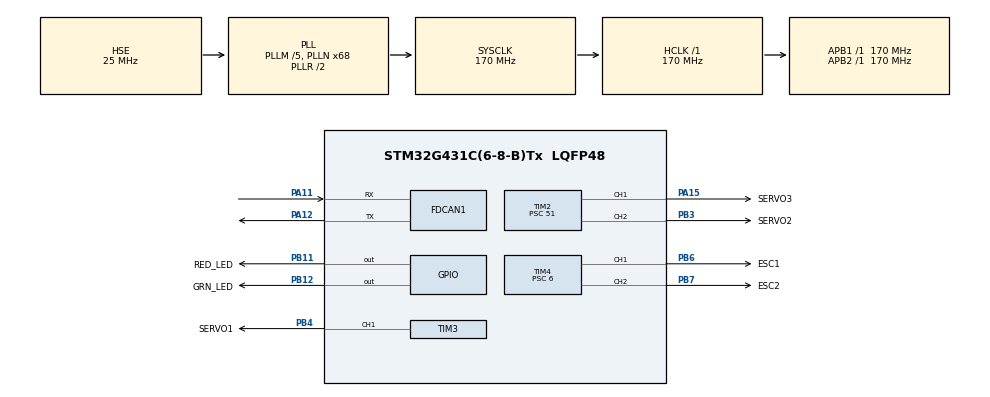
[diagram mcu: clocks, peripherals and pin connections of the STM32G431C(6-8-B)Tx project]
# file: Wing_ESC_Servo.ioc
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FDCAN1.CalculateBaudRateNominal=1000000
FDCAN1.CalculateTimeBitNominal=1000
FDCAN1.CalculateTimeQuantumNominal=100.0
FDCAN1.ClockDivider=FDCAN_CLOCK_DIV1
FDCAN1.NominalPrescaler=17
FDCAN1.NominalTimeSeg1=7
FDCAN1.NominalTimeSeg2=2
FREERTOS.Mutexes01=CanardlibMutex,Dynamic,NULL,Available
FREERTOS.Tasks01=CanStatus,16,256,StartCanStatus,Default,NULL,Dynamic,NULL,NULL;CanRx,43,512,StartCanRx,Default,NULL,Dynamic,NULL,NULL;CanTx,32,256,StartCanTx,Default,NULL,Dynamic,NULL,NULL;EscStatus,24,256,StartEscStatus,Default,NULL,Dynamic,NULL,NULL;LedBlink,14,128,StartLedBlink,Default,NULL,Dynamic,NULL,NULL;EscUpdate,40,256,StartEscUpdate,Default,NULL,Dynamic,NULL,NULL;ServoUpdate,36,256,StartServoUpdate,Default,NULL,Dynamic,NULL,NULL;ErrorLED,15,128,StartErrorLED,Default,NULL,Dynamic,NULL,NULL
FREERTOS.configMINIMAL_STACK_SIZE=128
FREERTOS.configTOTAL_HEAP_SIZE=12000
Mcu.Family=STM32G4
Mcu.Name=STM32G431C(6-8-B)Tx
Mcu.Package=LQFP48
NVIC.FDCAN1_IT0_IRQn=true\:5\:0\:false\:false\:true\:true\:true\:true\:true
NVIC.PriorityGroup=NVIC_PRIORITYGROUP_4
NVIC.TIM7_IRQn=true\:15\:0\:false\:false\:true\:false\:false\:true\:true
NVIC.TimeBase=TIM7_IRQn
NVIC.TimeBaseIP=TIM7
PA11.Mode=FDCAN_Activate
PA11.Signal=FDCAN1_RX
PA12.Mode=FDCAN_Activate
PA12.Signal=FDCAN1_TX
PA13.Mode=Serial_Wire
PA13.Signal=SYS_JTMS-SWDIO
PA14.Mode=Serial_Wire
PA14.Signal=SYS_JTCK-SWCLK
PA15.GPIO_Label=SERVO3
PA15.Signal=S_TIM2_CH1
PB11.GPIO_Label=RED_LED
PB11.Signal=GPIO_Output
PB12.GPIO_Label=GRN_LED
PB12.Signal=GPIO_Output
PB3.GPIO_Label=SERVO2
PB3.Signal=S_TIM2_CH2
PB4.GPIO_Label=SERVO1
PB4.Signal=S_TIM3_CH1
PB6.GPIO_Label=ESC1
PB6.Signal=S_TIM4_CH1
PB7.GPIO_Label=ESC2
PB7.Signal=S_TIM4_CH2
PF0-OSC_IN.Mode=HSE-External-Oscillator
PF0-OSC_IN.Signal=RCC_OSC_IN
PF1-OSC_OUT.Mode=HSE-External-Oscillator
PF1-OSC_OUT.Signal=RCC_OSC_OUT
ProjectManager.HeapSize=0x200
ProjectManager.StackSize=0x400
ProjectManager.TargetToolchain=CMake
RCC.ADC12Freq_Value=170000000
RCC.AHBFreq_Value=170000000
RCC.APB1Freq_Value=170000000
RCC.APB1TimFreq_Value=170000000
RCC.APB2Freq_Value=170000000
RCC.APB2TimFreq_Value=170000000
RCC.CortexFreq_Value=170000000
RCC.EXTERNAL_CLOCK_VALUE=12288000
RCC.HCLKFreq_Value=170000000
RCC.HSE_VALUE=25000000
RCC.HSI48_VALUE=48000000
RCC.HSI_VALUE=16000000
RCC.LSE_VALUE=32768
RCC.PLLM=RCC_PLLM_DIV5
RCC.PLLN=68
RCC.PLLSourceVirtual=RCC_PLLSOURCE_HSE
RCC.SYSCLKFreq_VALUE=170000000
RCC.SYSCLKSource=RCC_SYSCLKSOURCE_PLLCLK
RCC.USBFreq_Value=170000000
RCC.VCOOutputFreq_Value=340000000
SH.S_TIM2_CH1.0=TIM2_CH1,PWM Generation1 CH1
SH.S_TIM2_CH2.0=TIM2_CH2,PWM Generation2 CH2
SH.S_TIM3_CH1.0=TIM3_CH1,PWM Generation1 CH1
SH.S_TIM4_CH1.0=TIM4_CH1,PWM Generation1 CH1
SH.S_TIM4_CH2.0=TIM4_CH2,PWM Generation2 CH2
TIM2.Channel-PWM\ Generation1\ CH1=TIM_CHANNEL_1
TIM2.Channel-PWM\ Generation2\ CH2=TIM_CHANNEL_2
TIM2.PeriodNoDither=65383
TIM2.Prescaler=51
TIM3.Channel-PWM\ Generation1\ CH1=TIM_CHANNEL_1
TIM3.PeriodNoDither=65383
TIM3.Prescaler=51
TIM4.Channel-PWM\ Generation1\ CH1=TIM_CHANNEL_1
TIM4.Channel-PWM\ Generation2\ CH2=TIM_CHANNEL_2
TIM4.PeriodNoDither=60713
TIM4.Prescaler=6
VP_FREERTOS_VS_CMSIS_V2.Mode=CMSIS_V2
VP_SYS_VS_DBSignals.Mode=DisableDeadBatterySignals
VP_SYS_VS_tim7.Mode=TIM7
board=custom

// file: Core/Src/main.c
/* USER CODE BEGIN Header */
/**
  ******************************************************************************
  * @file           : main.c
  * @brief          : Main program body
  ******************************************************************************
  * @attention
  *
  * Copyright (c) 2026 STMicroelectronics.
  * All rights reserved.
  *
  * This software is licensed under terms that can be found in the LICENSE file
  * in the root directory of this software component.
  * If no LICENSE file comes with this software, it is provided AS-IS.
  *
  ******************************************************************************
  */
/* USER CODE END Header */
#include "main.h"
#include "cmsis_os.h"

/* USER CODE BEGIN PTD */
uint32_t servo_error = 0;
uint32_t esc_error = 0;

/* USER CODE END PTD */

FDCAN_HandleTypeDef hfdcan1;

TIM_HandleTypeDef htim2;
TIM_HandleTypeDef htim3;
TIM_HandleTypeDef htim4;

/* Definitions for CanStatus */
osThreadId_t CanStatusHandle;
const osThreadAttr_t CanStatus_attributes = {
  .name = "CanStatus",
  .priority = (osPriority_t) osPriorityBelowNormal,
  .stack_size = 256 * 4
};
/* Definitions for CanRx */
osThreadId_t CanRxHandle;
const osThreadAttr_t CanRx_attributes = {
  .name = "CanRx",
  .priority = (osPriority_t) osPriorityHigh3,
  .stack_size = 512 * 4
};
/* Definitions for CanTx */
osThreadId_t CanTxHandle;
const osThreadAttr_t CanTx_attributes = {
  .name = "CanTx",
  .priority = (osPriority_t) osPriorityAboveNormal,
  .stack_size = 256 * 4
};
/* Definitions for EscStatus */
osThreadId_t EscStatusHandle;
const osThreadAttr_t EscStatus_attributes = {
  .name = "EscStatus",
  .priority = (osPriority_t) osPriorityNormal,
  .stack_size = 256 * 4
};
/* Definitions for LedBlink */
osThreadId_t LedBlinkHandle;
const osThreadAttr_t LedBlink_attributes = {
  .name = "LedBlink",
  .priority = (osPriority_t) osPriorityLow6,
  .stack_size = 128 * 4
};
/* Definitions for EscUpdate */
osThreadId_t EscUpdateHandle;
const osThreadAttr_t EscUpdate_attributes = {
  .name = "EscUpdate",
  .priority = (osPriority_t) osPriorityHigh,
  .stack_size = 256 * 4
};
/* Definitions for ServoUpdate */
osThreadId_t ServoUpdateHandle;
const osThreadAttr_t ServoUpdate_attributes = {
  .name = "ServoUpdate",
  .priority = (osPriority_t) osPriorityAboveNormal4,
  .stack_size = 256 * 4
};
/* Definitions for ErrorLED */
osThreadId_t ErrorLEDHandle;
const osThreadAttr_t ErrorLED_attributes = {
  .name = "ErrorLED",
  .priority = (osPriority_t) osPriorityLow7,
  .stack_size = 128 * 4
};
/* Definitions for CanardlibMutex */
osMutexId_t CanardlibMutexHandle;
const osMutexAttr_t CanardlibMutex_attributes = {
  .name = "CanardlibMutex"
};

void SystemClock_Config(void);
static void MX_GPIO_Init(void);
static void MX_FDCAN1_Init(void);
static void MX_TIM3_Init(void);
static void MX_TIM2_Init(void);
static void MX_TIM4_Init(void);
void StartCanStatus(void *argument);
void StartCanRx(void *argument);
void StartCanTx(void *argument);
void StartEscStatus(void *argument);
void StartLedBlink(void *argument);
void StartEscUpdate(void *argument);
void StartServoUpdate(void *argument);
void StartErrorLED(void *argument);

/* USER CODE BEGIN 0 */

// Sets which PWM channel drives which servo

void write_servo(int8_t i, uint16_t crr){
  switch(i){
    case 0:
      __HAL_TIM_SET_COMPARE(&htim3, TIM_CHANNEL_1 , crr);
      servo_error &= ~(1u << 30);
      break;
    case 1:
      __HAL_TIM_SET_COMPARE(&htim2, TIM_CHANNEL_2 , crr);
      servo_error &= ~(1u << 30);
      break;
    case 2:
      __HAL_TIM_SET_COMPARE(&htim2, TIM_CHANNEL_1 , crr);
      servo_error &= ~(1u << 30);
      break;
    default:
      servo_error |= (1u << 30);
      break;
  }
}

void write_esc(uint8_t i, uint16_t crr){
  switch (i){
    case 0:
      __HAL_TIM_SET_COMPARE(&htim4, TIM_CHANNEL_1 , crr);
      esc_error &= ~(1u << 29);
      break;
    case 1:
      __HAL_TIM_SET_COMPARE(&htim4, TIM_CHANNEL_2 , crr);
      esc_error &= ~(1u << 29);
      break;
    default:
      esc_error |= (1u << 29);
      break;
  }
}

/* USER CODE END 0 */

int main(void)
{

  /* MCU Configuration--------------------------------------------------------*/

  /* Reset of all peripherals, Initializes the Flash interface and the Systick. */
  HAL_Init();

  /* Configure the system clock */
  SystemClock_Config();

  /* Initialize all configured peripherals */
  MX_GPIO_Init();
  MX_FDCAN1_Init();
  MX_TIM3_Init();
  MX_TIM2_Init();
  MX_TIM4_Init();
  /* USER CODE BEGIN 2 */

  // Setup canbus interupt
  HAL_FDCAN_ConfigInterruptLines(&hfdcan1, FDCAN_IT_GROUP_RX_FIFO0, FDCAN_INTERRUPT_LINE0);
  HAL_FDCAN_ActivateNotification(&hfdcan1, FDCAN_IT_RX_FIFO0_NEW_MESSAGE, 0);

  // Initialize dronecan
  can_node_init(&hfdcan1);

  // Start Canbus
  HAL_FDCAN_Start(&hfdcan1);

  // Start PWM channels
  HAL_TIM_PWM_Start(&htim3, TIM_CHANNEL_1);
  HAL_TIM_PWM_Start(&htim2, TIM_CHANNEL_1);
  HAL_TIM_PWM_Start(&htim2, TIM_CHANNEL_2);
  HAL_TIM_PWM_Start(&htim4, TIM_CHANNEL_1);
  HAL_TIM_PWM_Start(&htim4, TIM_CHANNEL_2);

  /* USER CODE END 2 */

  /* Init scheduler */
  osKernelInitialize();
  /* Create the mutex(es) */
  /* creation of CanardlibMutex */
  CanardlibMutexHandle = osMutexNew(&CanardlibMutex_attributes);

  /* Create the thread(s) */
  /* creation of CanStatus */
  CanStatusHandle = osThreadNew(StartCanStatus, NULL, &CanStatus_attributes);

  /* creation of CanRx */
  CanRxHandle = osThreadNew(StartCanRx, NULL, &CanRx_attributes);

  /* creation of CanTx */
  CanTxHandle = osThreadNew(StartCanTx, NULL, &CanTx_attributes);

  /* creation of EscStatus */
  EscStatusHandle = osThreadNew(StartEscStatus, NULL, &EscStatus_attributes);

  /* creation of LedBlink */
  LedBlinkHandle = osThreadNew(StartLedBlink, NULL, &LedBlink_attributes);

  /* creation of EscUpdate */
  EscUpdateHandle = osThreadNew(StartEscUpdate, NULL, &EscUpdate_attributes);

  /* creation of ServoUpdate */
  ServoUpdateHandle = osThreadNew(StartServoUpdate, NULL, &ServoUpdate_attributes);

  /* creation of ErrorLED */
  ErrorLEDHandle = osThreadNew(StartErrorLED, NULL, &ErrorLED_attributes);

  /* Start scheduler */
  osKernelStart();

  /* We should never get here as control is now taken by the scheduler */

  /* Infinite loop */
  while (1)
  {

  }
}

void SystemClock_Config(void)
{
  RCC_OscInitTypeDef RCC_OscInitStruct = {0};
  RCC_ClkInitTypeDef RCC_ClkInitStruct = {0};

  /** Configure the main internal regulator output voltage
  */
  HAL_PWREx_ControlVoltageScaling(PWR_REGULATOR_VOLTAGE_SCALE1_BOOST);

  /** Initializes the RCC Oscillators according to the specified parameters
  * in the RCC_OscInitTypeDef structure.
  */
  RCC_OscInitStruct.OscillatorType = RCC_OSCILLATORTYPE_HSE;
  RCC_OscInitStruct.HSEState = RCC_HSE_ON;
  RCC_OscInitStruct.PLL.PLLState = RCC_PLL_ON;
  RCC_OscInitStruct.PLL.PLLSource = RCC_PLLSOURCE_HSE;
  RCC_OscInitStruct.PLL.PLLM = RCC_PLLM_DIV5;
  RCC_OscInitStruct.PLL.PLLN = 68;
  RCC_OscInitStruct.PLL.PLLP = RCC_PLLP_DIV2;
  RCC_OscInitStruct.PLL.PLLQ = RCC_PLLQ_DIV2;
  RCC_OscInitStruct.PLL.PLLR = RCC_PLLR_DIV2;
  if (HAL_RCC_OscConfig(&RCC_OscInitStruct) != HAL_OK)
  {
    Error_Handler();
  }

  /** Initializes the CPU, AHB and APB buses clocks
  */
  RCC_ClkInitStruct.ClockType = RCC_CLOCKTYPE_HCLK|RCC_CLOCKTYPE_SYSCLK
                              |RCC_CLOCKTYPE_PCLK1|RCC_CLOCKTYPE_PCLK2;
  RCC_ClkInitStruct.SYSCLKSource = RCC_SYSCLKSOURCE_PLLCLK;
  RCC_ClkInitStruct.AHBCLKDivider = RCC_SYSCLK_DIV1;
  RCC_ClkInitStruct.APB1CLKDivider = RCC_HCLK_DIV1;
  RCC_ClkInitStruct.APB2CLKDivider = RCC_HCLK_DIV1;

  if (HAL_RCC_ClockConfig(&RCC_ClkInitStruct, FLASH_LATENCY_4) != HAL_OK)
  {
    Error_Handler();
  }
}

static void MX_FDCAN1_Init(void)
{

  hfdcan1.Instance = FDCAN1;
  hfdcan1.Init.ClockDivider = FDCAN_CLOCK_DIV1;
  hfdcan1.Init.FrameFormat = FDCAN_FRAME_CLASSIC;
  hfdcan1.Init.Mode = FDCAN_MODE_NORMAL;
  hfdcan1.Init.AutoRetransmission = DISABLE;
  hfdcan1.Init.TransmitPause = DISABLE;
  hfdcan1.Init.ProtocolException = DISABLE;
  hfdcan1.Init.NominalPrescaler = 17;
  hfdcan1.Init.NominalSyncJumpWidth = 1;
  hfdcan1.Init.NominalTimeSeg1 = 7;
  hfdcan1.Init.NominalTimeSeg2 = 2;
  hfdcan1.Init.DataPrescaler = 1;
  hfdcan1.Init.DataSyncJumpWidth = 1;
  hfdcan1.Init.DataTimeSeg1 = 1;
  hfdcan1.Init.DataTimeSeg2 = 1;
  hfdcan1.Init.StdFiltersNbr = 0;
  hfdcan1.Init.ExtFiltersNbr = 0;
  hfdcan1.Init.TxFifoQueueMode = FDCAN_TX_FIFO_OPERATION;
  if (HAL_FDCAN_Init(&hfdcan1) != HAL_OK)
  {
    Error_Handler();
  }

}

static void MX_TIM2_Init(void)
{

  TIM_MasterConfigTypeDef sMasterConfig = {0};
  TIM_OC_InitTypeDef sConfigOC = {0};

  htim2.Instance = TIM2;
  htim2.Init.Prescaler = 51;
  htim2.Init.CounterMode = TIM_COUNTERMODE_UP;
  htim2.Init.Period = 65383;
  htim2.Init.ClockDivision = TIM_CLOCKDIVISION_DIV1;
  htim2.Init.AutoReloadPreload = TIM_AUTORELOAD_PRELOAD_DISABLE;
  if (HAL_TIM_PWM_Init(&htim2) != HAL_OK)
  {
    Error_Handler();
  }
  sMasterConfig.MasterOutputTrigger = TIM_TRGO_RESET;
  sMasterConfig.MasterSlaveMode = TIM_MASTERSLAVEMODE_DISABLE;
  if (HAL_TIMEx_MasterConfigSynchronization(&htim2, &sMasterConfig) != HAL_OK)
  {
    Error_Handler();
  }
  sConfigOC.OCMode = TIM_OCMODE_PWM1;
  sConfigOC.Pulse = 0;
  sConfigOC.OCPolarity = TIM_OCPOLARITY_HIGH;
  sConfigOC.OCFastMode = TIM_OCFAST_DISABLE;
  if (HAL_TIM_PWM_ConfigChannel(&htim2, &sConfigOC, TIM_CHANNEL_1) != HAL_OK)
  {
    Error_Handler();
  }
  if (HAL_TIM_PWM_ConfigChannel(&htim2, &sConfigOC, TIM_CHANNEL_2) != HAL_OK)
  {
    Error_Handler();
  }
  HAL_TIM_MspPostInit(&htim2);

}

static void MX_TIM3_Init(void)
{

  TIM_MasterConfigTypeDef sMasterConfig = {0};
  TIM_OC_InitTypeDef sConfigOC = {0};

  htim3.Instance = TIM3;
  htim3.Init.Prescaler = 51;
  htim3.Init.CounterMode = TIM_COUNTERMODE_UP;
  htim3.Init.Period = 65383;
  htim3.Init.ClockDivision = TIM_CLOCKDIVISION_DIV1;
  htim3.Init.AutoReloadPreload = TIM_AUTORELOAD_PRELOAD_DISABLE;
  if (HAL_TIM_PWM_Init(&htim3) != HAL_OK)
  {
    Error_Handler();
  }
  sMasterConfig.MasterOutputTrigger = TIM_TRGO_RESET;
  sMasterConfig.MasterSlaveMode = TIM_MASTERSLAVEMODE_DISABLE;
  if (HAL_TIMEx_MasterConfigSynchronization(&htim3, &sMasterConfig) != HAL_OK)
  {
    Error_Handler();
  }
  sConfigOC.OCMode = TIM_OCMODE_PWM1;
  sConfigOC.Pulse = 0;
  sConfigOC.OCPolarity = TIM_OCPOLARITY_HIGH;
  sConfigOC.OCFastMode = TIM_OCFAST_DISABLE;
  if (HAL_TIM_PWM_ConfigChannel(&htim3, &sConfigOC, TIM_CHANNEL_1) != HAL_OK)
  {
    Error_Handler();
  }
  HAL_TIM_MspPostInit(&htim3);

}

static void MX_TIM4_Init(void)
{

  TIM_MasterConfigTypeDef sMasterConfig = {0};
  TIM_OC_InitTypeDef sConfigOC = {0};

  htim4.Instance = TIM4;
  htim4.Init.Prescaler = 6;
  htim4.Init.CounterMode = TIM_COUNTERMODE_UP;
  htim4.Init.Period = 60713;
  htim4.Init.ClockDivision = TIM_CLOCKDIVISION_DIV1;
  htim4.Init.AutoReloadPreload = TIM_AUTORELOAD_PRELOAD_DISABLE;
  if (HAL_TIM_PWM_Init(&htim4) != HAL_OK)
  {
    Error_Handler();
  }
  sMasterConfig.MasterOutputTrigger = TIM_TRGO_RESET;
  sMasterConfig.MasterSlaveMode = TIM_MASTERSLAVEMODE_DISABLE;
  if (HAL_TIMEx_MasterConfigSynchronization(&htim4, &sMasterConfig) != HAL_OK)
  {
    Error_Handler();
  }
  sConfigOC.OCMode = TIM_OCMODE_PWM1;
  sConfigOC.Pulse = 0;
  sConfigOC.OCPolarity = TIM_OCPOLARITY_HIGH;
  sConfigOC.OCFastMode = TIM_OCFAST_DISABLE;
  if (HAL_TIM_PWM_ConfigChannel(&htim4, &sConfigOC, TIM_CHANNEL_1) != HAL_OK)
  {
    Error_Handler();
  }
  if (HAL_TIM_PWM_ConfigChannel(&htim4, &sConfigOC, TIM_CHANNEL_2) != HAL_OK)
  {
    Error_Handler();
  }
  HAL_TIM_MspPostInit(&htim4);

}

static void MX_GPIO_Init(void)
{
  GPIO_InitTypeDef GPIO_InitStruct = {0};

  /* GPIO Ports Clock Enable */
  __HAL_RCC_GPIOF_CLK_ENABLE();
  __HAL_RCC_GPIOB_CLK_ENABLE();
  __HAL_RCC_GPIOA_CLK_ENABLE();

  /*Configure GPIO pin Output Level */
  HAL_GPIO_WritePin(GPIOB, RED_LED_Pin|GRN_LED_Pin, GPIO_PIN_RESET);

  /*Configure GPIO pins : RED_LED_Pin GRN_LED_Pin */
  GPIO_InitStruct.Pin = RED_LED_Pin|GRN_LED_Pin;
  GPIO_InitStruct.Mode = GPIO_MODE_OUTPUT_PP;
  GPIO_InitStruct.Pull = GPIO_NOPULL;
  GPIO_InitStruct.Speed = GPIO_SPEED_FREQ_LOW;
  HAL_GPIO_Init(GPIOB, &GPIO_InitStruct);

}

/* USER CODE BEGIN 4 */
// Map function for canbus servo/esc command to PWM pulse
static inline int32_t map_int(int32_t x, int32_t in_min, int32_t in_max, int32_t out_min, int32_t out_max) {
  return (x - in_min) * (out_max - out_min) / (in_max - in_min) + out_min;
}

uint32_t introduce_jitter(uint32_t range_ms){
  int32_t uid = HAL_GetUIDw0() ^ HAL_GetUIDw1() ^ HAL_GetUIDw2();
  return uid % range_ms;
}

// Canbus interupt
void HAL_FDCAN_RxFifo0Callback(FDCAN_HandleTypeDef *hfdcan, uint32_t flags){
  (void) flags;

  // Run library function to clear can buffer to ring buffer
  can_node_rx_isr(hfdcan);

  // Notify rx task to run
  BaseType_t woken = pdFALSE;
  vTaskNotifyGiveFromISR(CanRxHandle, &woken);
  portYIELD_FROM_ISR(woken);
}

/* USER CODE END 4 */

void StartCanStatus(void *argument)
{
  /* USER CODE BEGIN 5 */
  (void) argument;
  osDelay(introduce_jitter(1000));
  uint32_t ticks = osKernelGetTickCount();

  for(;;)
  {
    // Wait 1 second
    ticks += 1000U;
    osDelayUntil(ticks);

    // Aquire canbus mutex
    if (osMutexAcquire(CanardlibMutexHandle, osWaitForever) == osOK)
    {
      // Send update
      can_node_1hz_tasks();

      osMutexRelease(CanardlibMutexHandle);
    }
      // Notify canbus transmit task to send data
      xTaskNotifyGive(CanTxHandle);
  }
  /* USER CODE END 5 */
}

void StartCanRx(void *argument)
{
  /* USER CODE BEGIN StartCanRx */
  (void) argument;

  // Getting node allocated
  uint8_t can_id_status = 0;

  // Turn red led on to indicate wait in progress
  HAL_GPIO_WritePin(RED_LED_GPIO_Port, RED_LED_Pin, GPIO_PIN_SET);

  // Wait untill node allocated
  while(can_id_status != 1) {

    // Thread safe delay, precision not required
    osDelay(20);

    // Get canbus mutex
    if(osMutexAcquire(CanardlibMutexHandle, osWaitForever) == osOK)
    {
      // Process incoming messages
      while(can_node_dequeue_and_process()) {}

      // Try to get dynamic node, returns 2 to signal data transmission required, 1 if recieved and 0 if else
      can_id_status = can_node_poll_dna();

      // Transmit data if required
      if (can_id_status == 2)
      {
        xTaskNotifyGive(CanTxHandle);
      }

      osMutexRelease(CanardlibMutexHandle);
    }
  }

  // Turn off red led - Node aquired
  HAL_GPIO_WritePin(RED_LED_GPIO_Port, RED_LED_Pin, GPIO_PIN_RESET);

  /* Infinite loop */
  for(;;)
  {

    // Wait forever untill triggered by canbus interupt
    ulTaskNotifyTake(pdTRUE, portMAX_DELAY);

    // Aquire mutex
    if (osMutexAcquire(CanardlibMutexHandle, osWaitForever) == osOK)
    {
      // Process canbus rx frames
      while(can_node_dequeue_and_process()) {}
      osMutexRelease(CanardlibMutexHandle);
    }
      // Notify canbus tx task to send data
      // Done as processing data can require responding
      xTaskNotifyGive(CanTxHandle);
  }
  /* USER CODE END StartCanRx */
}

void StartCanTx(void *argument)
{
  /* USER CODE BEGIN StartCanTx */
  for(;;)
  {
    // Wait forever untill function is called
    ulTaskNotifyTake(pdTRUE, portMAX_DELAY);

    // Aquire canbus mutex
    if(osMutexAcquire(CanardlibMutexHandle, osWaitForever) == osOK)
    {
      // Call drone can send data function
      can_node_flush_tx();
      osMutexRelease(CanardlibMutexHandle);
    }
  }
  /* USER CODE END StartCanTx */
}

void StartEscStatus(void *argument)
{
  /* USER CODE BEGIN StartEscStatus */
  (void) argument;
  osDelay(introduce_jitter(1000));
  uint32_t ticks = osKernelGetTickCount();
  /* Infinite loop */
  for(;;)
  {
    // Send status at 10hz
    ticks += 100U;
    osDelayUntil(ticks);

    // Aquire mutex
    if (osMutexAcquire(CanardlibMutexHandle, osWaitForever) == osOK){
      // Send status
      send_esc_status();
      osMutexRelease(CanardlibMutexHandle);
    }
    xTaskNotifyGive(CanTxHandle);
  }
  /* USER CODE END StartEscStatus */
}

void StartLedBlink(void *argument)
{
  /* USER CODE BEGIN StartLedBlink */
  (void) argument;
  osDelay(introduce_jitter(1000));
  /* Infinite loop */
  for(;;)
  {
    HAL_GPIO_WritePin(GRN_LED_GPIO_Port, GRN_LED_Pin, GPIO_PIN_SET);
    osDelay(100);
    HAL_GPIO_WritePin(GRN_LED_GPIO_Port, GRN_LED_Pin, GPIO_PIN_RESET);
    osDelay(900);
  }
  /* USER CODE END StartLedBlink */
}

void StartEscUpdate(void *argument)
{
  /* USER CODE BEGIN StartEscUpdate */
  (void) argument;
  osDelay(introduce_jitter(1000));
  uint32_t ticks = osKernelGetTickCount();
  update_tracking esc_status[ESC_COUNT] = {0};
  /* Infinite loop */
  for(;;)
  {
    // Update at 200hz
    ticks += 5;
    osDelayUntil(ticks);
    for(int i = 0; i < ESC_COUNT; i++){
      if (esc[i].last_update !=esc_status[i].last_update){
        esc_status[i].update_failed_count = 0;
        esc_status[i].update_without_fault ++;
        if (esc_status[i].update_without_fault > 200) esc_error &= ~(1u << i);
        if (esc[i].esc_cmd < 0) esc[i].esc_cmd = -esc[i].esc_cmd;
        uint32_t pulse = map_int(esc[i].esc_cmd, ESC_CAN_MIN, ESC_CAN_MAX, ESC_PULSE_MIN, ESC_PULSE_MAX);
        write_esc(i, pulse);
        // Write esc command
      }
      else {
        esc_status[i].update_failed_count ++;
        esc_status[i].update_without_fault = 0;
        if (esc_status[i].update_failed_count >= ALLOWED_ESC_FAILS) {
          esc_error |= (1u << i);
          write_esc(i, ESC_PULSE_MIN);
        }
      }
      esc_status[i].last_update = esc[i].last_update;
    }

  }
  /* USER CODE END StartEscUpdate */
}

void StartServoUpdate(void *argument)
{
  /* USER CODE BEGIN StartServoUpdate */
  (void) argument;
  osDelay(introduce_jitter(1000));
  uint32_t ticks = osKernelGetTickCount();
  update_tracking servo_status[SERVO_COUNT] = {0};
  /* Infinite loop */
  for(;;)
  {
    // Update at 50hz
    ticks += 20;
    osDelayUntil(ticks);
    for(int i = 0; i < SERVO_COUNT; i++){
      if (servos[i].last_update != servo_status[i].last_update){
        servo_status[i].update_failed_count = 0;
        servo_status[i].update_without_fault ++;
        if (servo_status[i].update_without_fault > 50) servo_error &= ~(1u << i);
        if (servos[i].servo_cmd < 0) servos[i].servo_cmd = -servos[i].servo_cmd;
        uint32_t pulse = map_int(servos[i].servo_cmd, SERVO_CAN_MIN, SERVO_CAN_MAX, SERVO_PULSE_MIN, SERVO_PULSE_MAX);
        write_servo(i, pulse);
      }
      else {
        servo_status[i].update_failed_count ++;
        servo_status[i].update_without_fault = 0;
        if (servo_status[i].update_failed_count >= ALLOWED_SERVO_FAILS) {
          servo_error |= (1u << i);
          write_servo(i, 0);
        }
      }
      servo_status[i].last_update = servos[i].last_update;
    }

  }
  /* USER CODE END StartServoUpdate */
}

void StartErrorLED(void *argument)
{
  /* USER CODE BEGIN StartErrorLED */
  /* Infinite loop */
  for(;;)
  {
    osDelay(500);

    if (esc_error != 0 || servo_error != 0){
      HAL_GPIO_WritePin(RED_LED_GPIO_Port, RED_LED_Pin, GPIO_PIN_SET);
    }
    else {
      HAL_GPIO_WritePin(RED_LED_GPIO_Port, RED_LED_Pin, GPIO_PIN_RESET);
    }
  }
  /* USER CODE END StartErrorLED */
}

void HAL_TIM_PeriodElapsedCallback(TIM_HandleTypeDef *htim)
{
  if (htim->Instance == TIM7)
  {
    HAL_IncTick();
  }
}

void Error_Handler(void)
{
  __disable_irq();
  while (1)
  {
  }
}
